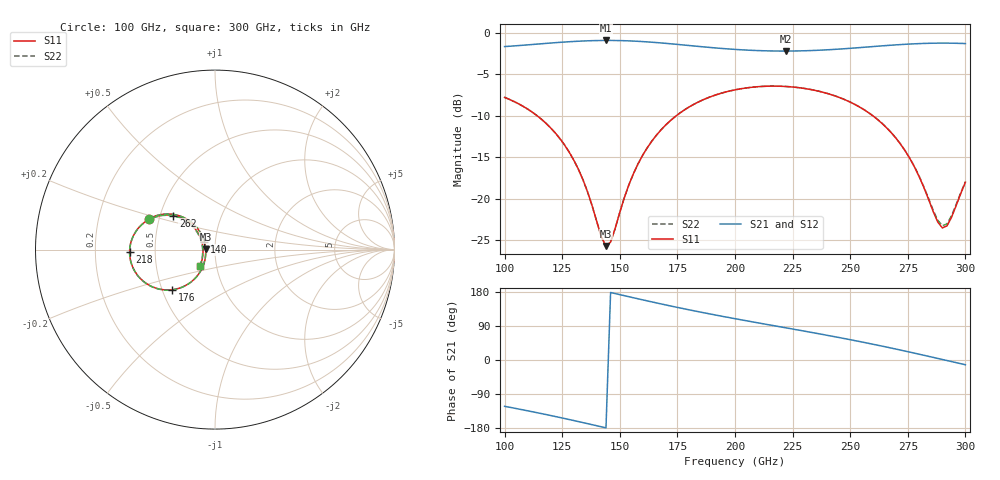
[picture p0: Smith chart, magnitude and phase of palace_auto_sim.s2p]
#  GHZ S DB R 50
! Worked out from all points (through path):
!   101 points, 100 GHz to 300 GHz, reference 50 ohm
!   highest |S21| = -0.96 dB at 144 GHz (marker M1); lowest = -2.2 dB at 222 GHz (marker M2)
!   group delay of S21, straight-line fit = 3.41 ps
!   lowest |S11| = -25.7 dB at 144 GHz (marker M3), VSWR 1.11, Z = 45.1 + j0.17 ohm
!   |S11| at or under -10 dB: 114.1 GHz to 174.6 GHz (60.47 GHz wide, 41.9 % of centre); 259.8 GHz to end of sweep
!   |S22| runs from -25.7 to -6.4 dB; largest |S21 - S12| = 9.5e-14
!   S11 on the Smith chart (normalised r, x): 100 GHz: 0.44, +0.18; 140 GHz: 0.89, +0.08; 176 GHz: 0.56, -0.28; 218 GHz: 0.36, -0.01; 262 GHz: 0.59, +0.24; 300 GHz: 0.83, -0.16
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100  -7.80 155.3  -1.69 -122.2  -1.69 -122.2  -7.80 155.4
120  -11.47 135.8  -1.27 -146.5  -1.27 -146.5  -11.47 135.9
128  -14.36 130.3  -1.11 -157.0  -1.11 -157.0  -14.36 130.3
134  -17.69 130.1  -1.02 -165.2  -1.02 -165.2  -17.69 130.2
140  -22.72 143.9  -0.97 -173.5  -0.97 -173.5  -22.73 144.0
144  -25.67 177.9  -0.96 -179.1  -0.96 -179.1  -25.68 178.0
146  -25.19 -159.7  -0.96 178.1  -0.96 178.1  -25.21 -159.6
152  -19.82 -127.8  -0.99 169.7  -0.99 169.7  -19.83 -127.7
158  -15.74 -123.7  -1.06 161.4  -1.06 161.4  -15.74 -123.6
168  -11.67 -129.5  -1.26 147.9  -1.26 147.9  -11.67 -129.4
176  -9.70 -136.9  -1.46 137.5  -1.46 137.5  -9.69 -136.8
200  -6.89 -160.9  -2.03 109.0  -2.03 109.0  -6.89 -160.7
218  -6.45 -178.2  -2.23 89.3  -2.23 89.3  -6.45 -178.0
222  -6.49 178.0  -2.23 85.0  -2.23 85.0  -6.49 178.2
234  -6.91 166.6  -2.16 71.9  -2.16 71.9  -6.91 166.9
248  -8.11 153.3  -1.94 56.0  -1.94 56.0  -8.11 153.7
262  -10.49 140.7  -1.65 38.9  -1.65 38.9  -10.47 141.2
268  -12.10 136.2  -1.52 31.2  -1.52 31.2  -12.08 136.8
278  -16.22 133.8  -1.36 17.9  -1.36 17.9  -16.17 134.6
290  -23.48 177.8  -1.28 1.4  -1.28 1.4  -23.23 178.1
294  -22.20 -151.6  -1.28 -4.2  -1.28 -4.2  -22.01 -152.2
300  -18.00 -132.1  -1.33 -12.5  -1.33 -12.5  -17.92 -132.7
